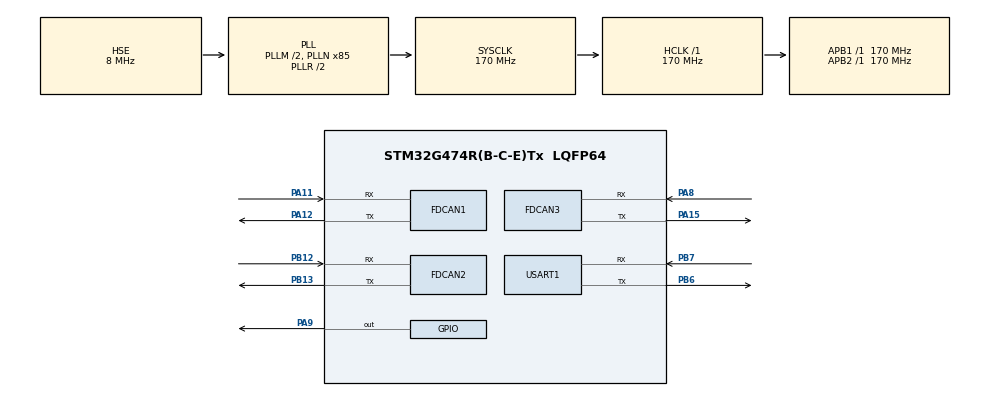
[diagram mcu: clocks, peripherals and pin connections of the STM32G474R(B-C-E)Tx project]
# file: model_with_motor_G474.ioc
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Dma.Request0=USART1_RX
Dma.USART1_RX.0.Direction=DMA_PERIPH_TO_MEMORY
Dma.USART1_RX.0.EventEnable=DISABLE
Dma.USART1_RX.0.Instance=DMA1_Channel1
Dma.USART1_RX.0.MemDataAlignment=DMA_MDATAALIGN_BYTE
Dma.USART1_RX.0.MemInc=DMA_MINC_ENABLE
Dma.USART1_RX.0.Mode=DMA_NORMAL
Dma.USART1_RX.0.PeriphDataAlignment=DMA_PDATAALIGN_BYTE
Dma.USART1_RX.0.PeriphInc=DMA_PINC_DISABLE
Dma.USART1_RX.0.Polarity=HAL_DMAMUX_REQ_GEN_RISING
Dma.USART1_RX.0.Priority=DMA_PRIORITY_LOW
Dma.USART1_RX.0.RequestNumber=1
Dma.USART1_RX.0.SignalID=NONE
Dma.USART1_RX.0.SyncEnable=DISABLE
Dma.USART1_RX.0.SyncPolarity=HAL_DMAMUX_SYNC_NO_EVENT
Dma.USART1_RX.0.SyncRequestNumber=1
Dma.USART1_RX.0.SyncSignalID=NONE
FDCAN1.CalculateBaudRateNominal=1000000
FDCAN1.CalculateTimeBitNominal=1000
FDCAN1.CalculateTimeQuantumNominal=100.0
FDCAN1.DataPrescaler=17
FDCAN1.DataTimeSeg1=6
FDCAN1.DataTimeSeg2=3
FDCAN1.NominalPrescaler=17
FDCAN1.NominalTimeSeg1=6
FDCAN1.NominalTimeSeg2=3
FDCAN1.StdFiltersNbr=1
FDCAN2.CalculateBaudRateNominal=1000000
FDCAN2.CalculateTimeBitNominal=1000
FDCAN2.CalculateTimeQuantumNominal=100.0
FDCAN2.DataPrescaler=17
FDCAN2.DataTimeSeg1=6
FDCAN2.DataTimeSeg2=3
FDCAN2.Mode=FDCAN_MODE_NORMAL
FDCAN2.NominalPrescaler=17
FDCAN2.NominalTimeSeg1=6
FDCAN2.NominalTimeSeg2=3
FDCAN2.StdFiltersNbr=1
FDCAN3.CalculateBaudRateNominal=1000000
FDCAN3.CalculateTimeBitNominal=1000
FDCAN3.CalculateTimeQuantumNominal=100.0
FDCAN3.DataPrescaler=17
FDCAN3.DataTimeSeg1=6
FDCAN3.DataTimeSeg2=3
FDCAN3.NominalPrescaler=17
FDCAN3.NominalTimeSeg1=6
FDCAN3.NominalTimeSeg2=3
FDCAN3.StdFiltersNbr=1
FREERTOS.Mutexes01=motorMutex,Dynamic,NULL,Available
FREERTOS.Queues01=task3position,16,uint16_t,0,Dynamic,NULL,NULL
FREERTOS.Tasks01=Task,24,128,Task0,As weak,NULL,Dynamic,NULL,NULL;myTask02,8,128,ZhuzhouMonitor,As weak,NULL,Dynamic,NULL,NULL;myTask03,8,128,DabiMonitor,As weak,NULL,Dynamic,NULL,NULL;myTask04,8,128,ChassisMonitor,As weak,NULL,Dynamic,NULL,NULL
Mcu.Family=STM32G4
Mcu.Name=STM32G474R(B-C-E)Tx
Mcu.Package=LQFP64
NVIC.DMA1_Channel1_IRQn=true\:5\:0\:false\:false\:true\:true\:false\:true\:true
NVIC.FDCAN1_IT0_IRQn=true\:5\:0\:false\:false\:true\:true\:true\:true\:true
NVIC.FDCAN1_IT1_IRQn=true\:5\:0\:false\:false\:true\:true\:true\:true\:true
NVIC.FDCAN2_IT0_IRQn=true\:5\:0\:false\:false\:true\:true\:true\:true\:true
NVIC.FDCAN2_IT1_IRQn=true\:5\:0\:false\:false\:true\:true\:true\:true\:true
NVIC.PriorityGroup=NVIC_PRIORITYGROUP_4
NVIC.TIM5_IRQn=true\:15\:0\:false\:false\:true\:false\:false\:true\:true
NVIC.TIM6_DAC_IRQn=true\:5\:0\:false\:false\:true\:true\:true\:true\:true
NVIC.TimeBase=TIM5_IRQn
NVIC.TimeBaseIP=TIM5
NVIC.USART1_IRQn=true\:5\:0\:false\:false\:true\:true\:true\:true\:true
PA11.Mode=FDCAN_Activate
PA11.Signal=FDCAN1_RX
PA12.Mode=FDCAN_Activate
PA12.Signal=FDCAN1_TX
PA13.Mode=Serial_Wire
PA13.Signal=SYS_JTMS-SWDIO
PA14.Mode=Serial_Wire
PA14.Signal=SYS_JTCK-SWCLK
PA15.Mode=FDCAN_Activate
PA15.Signal=FDCAN3_TX
PA8.Mode=FDCAN_Activate
PA8.Signal=FDCAN3_RX
PA9.Signal=GPIO_Output
PB12.Mode=FDCAN_Activate
PB12.Signal=FDCAN2_RX
PB13.Mode=FDCAN_Activate
PB13.Signal=FDCAN2_TX
PB6.Mode=Asynchronous
PB6.Signal=USART1_TX
PB7.Mode=Asynchronous
PB7.Signal=USART1_RX
PC14-OSC32_IN.Mode=LSE-External-Oscillator
PC14-OSC32_IN.Signal=RCC_OSC32_IN
PC15-OSC32_OUT.Mode=LSE-External-Oscillator
PC15-OSC32_OUT.Signal=RCC_OSC32_OUT
PF0-OSC_IN.Mode=HSE-External-Oscillator
PF0-OSC_IN.Signal=RCC_OSC_IN
PF1-OSC_OUT.Mode=HSE-External-Oscillator
PF1-OSC_OUT.Signal=RCC_OSC_OUT
ProjectManager.HeapSize=0x200
ProjectManager.StackSize=0x400
ProjectManager.TargetToolchain=MDK-ARM V5.32
RCC.ADC12Freq_Value=170000000
RCC.ADC345Freq_Value=170000000
RCC.AHBFreq_Value=170000000
RCC.APB1Freq_Value=170000000
RCC.APB1TimFreq_Value=170000000
RCC.APB2Freq_Value=170000000
RCC.APB2TimFreq_Value=170000000
RCC.CortexFreq_Value=170000000
RCC.EXTERNAL_CLOCK_VALUE=12288000
RCC.HCLKFreq_Value=170000000
RCC.HSE_VALUE=8000000
RCC.HSI48_VALUE=48000000
RCC.HSI_VALUE=16000000
RCC.PLLM=RCC_PLLM_DIV2
RCC.PLLN=85
RCC.PLLSourceVirtual=RCC_PLLSOURCE_HSE
RCC.SYSCLKFreq_VALUE=170000000
RCC.SYSCLKSource=RCC_SYSCLKSOURCE_PLLCLK
RCC.USBFreq_Value=170000000
RCC.VCOOutputFreq_Value=340000000
TIM6.AutoReloadPreload=TIM_AUTORELOAD_PRELOAD_ENABLE
TIM6.PeriodNoDither=99
TIM6.Prescaler=8499
USART1.VirtualMode-Asynchronous=VM_ASYNC
VP_FREERTOS_VS_CMSIS_V2.Mode=CMSIS_V2
VP_SYS_VS_DBSignals.Mode=DisableDeadBatterySignals
VP_SYS_VS_tim5.Mode=TIM5
VP_TIM6_VS_ClockSourceINT.Mode=Enable_Timer
board=custom

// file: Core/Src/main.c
/* USER CODE BEGIN Header */
/**
  ******************************************************************************
  * @file           : main.c
  * @brief          : Main program body
  ******************************************************************************
  * @attention
  *
  * Copyright (c) 2025 STMicroelectronics.
  * All rights reserved.
  *
  * This software is licensed under terms that can be found in the LICENSE file
  * in the root directory of this software component.
  * If no LICENSE file comes with this software, it is provided AS-IS.
  *
  ******************************************************************************
  */
/* USER CODE END Header */
#include "main.h"
#include "cmsis_os.h"
#include "dma.h"
#include "fdcan.h"
#include "tim.h"
#include "usart.h"
#include "gpio.h"

/* USER CODE BEGIN Includes */
#include "fdcan_bsp.h"
#include "dji_motor.h"
#include "cybergear_motor.h"
#include "Moter.h"
/* USER CODE END Includes */

void SystemClock_Config(void);
void MX_FREERTOS_Init(void);

int main(void)
{

  /* MCU Configuration--------------------------------------------------------*/

  /* Reset of all peripherals, Initializes the Flash interface and the Systick. */
  HAL_Init();

  /* Configure the system clock */
  SystemClock_Config();

  /* Initialize all configured peripherals */
  MX_GPIO_Init();
  MX_DMA_Init();
  MX_USART1_UART_Init();
  MX_FDCAN1_Init();
  MX_FDCAN2_Init();
  MX_FDCAN3_Init();
  MX_TIM6_Init();
  HAL_TIM_Base_Start_IT(&htim6);

  /* Init scheduler */
  osKernelInitialize();  /* Call init function for freertos objects (in cmsis_os2.c) */
  MX_FREERTOS_Init();

  /* Start scheduler */
  osKernelStart();

  /* We should never get here as control is now taken by the scheduler */

  /* Infinite loop */
  while (1)
  {

    /* USER CODE BEGIN 3 */
//		cybergear_motor_set_position(mi_motor, cybergear_motor_degree2rad(0.0f), cybergear_motor_rpm2rad(50));
//		HAL_Delay(1000);
//		cybergear_motor_set_position(mi_motor, cybergear_motor_degree2rad(60.0f), cybergear_motor_rpm2rad(50));
//		HAL_Delay(1000);

//		dji_motor_set_location(dji_motor, dji_degree2encoder(0.0f));
//    HAL_Delay(1000);
//    dji_motor_set_location(dji_motor, dji_degree2encoder(180.0f));
//    HAL_Delay(1000);

  }
  /* USER CODE END 3 */
}

void SystemClock_Config(void)
{
  RCC_OscInitTypeDef RCC_OscInitStruct = {0};
  RCC_ClkInitTypeDef RCC_ClkInitStruct = {0};

  /** Configure the main internal regulator output voltage
  */
  HAL_PWREx_ControlVoltageScaling(PWR_REGULATOR_VOLTAGE_SCALE1_BOOST);

  /** Initializes the RCC Oscillators according to the specified parameters
  * in the RCC_OscInitTypeDef structure.
  */
  RCC_OscInitStruct.OscillatorType = RCC_OSCILLATORTYPE_HSE;
  RCC_OscInitStruct.HSEState = RCC_HSE_ON;
  RCC_OscInitStruct.PLL.PLLState = RCC_PLL_ON;
  RCC_OscInitStruct.PLL.PLLSource = RCC_PLLSOURCE_HSE;
  RCC_OscInitStruct.PLL.PLLM = RCC_PLLM_DIV2;
  RCC_OscInitStruct.PLL.PLLN = 85;
  RCC_OscInitStruct.PLL.PLLP = RCC_PLLP_DIV2;
  RCC_OscInitStruct.PLL.PLLQ = RCC_PLLQ_DIV2;
  RCC_OscInitStruct.PLL.PLLR = RCC_PLLR_DIV2;
  if (HAL_RCC_OscConfig(&RCC_OscInitStruct) != HAL_OK)
  {
    Error_Handler();
  }

  /** Initializes the CPU, AHB and APB buses clocks
  */
  RCC_ClkInitStruct.ClockType = RCC_CLOCKTYPE_HCLK|RCC_CLOCKTYPE_SYSCLK
                              |RCC_CLOCKTYPE_PCLK1|RCC_CLOCKTYPE_PCLK2;
  RCC_ClkInitStruct.SYSCLKSource = RCC_SYSCLKSOURCE_PLLCLK;
  RCC_ClkInitStruct.AHBCLKDivider = RCC_SYSCLK_DIV1;
  RCC_ClkInitStruct.APB1CLKDivider = RCC_HCLK_DIV1;
  RCC_ClkInitStruct.APB2CLKDivider = RCC_HCLK_DIV1;

  if (HAL_RCC_ClockConfig(&RCC_ClkInitStruct, FLASH_LATENCY_4) != HAL_OK)
  {
    Error_Handler();
  }
}

void HAL_TIM_PeriodElapsedCallback(TIM_HandleTypeDef *htim)
{
  if (htim->Instance == TIM5)
  {
    HAL_IncTick();
  }

}

void Error_Handler(void)
{
  __disable_irq();
  while (1)
  {
  }
}

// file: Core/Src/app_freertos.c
/* USER CODE BEGIN Header */
/**
  ******************************************************************************
  * File Name          : app_freertos.c
  * Description        : Code for freertos applications
  ******************************************************************************
  * @attention
  *
  * Copyright (c) 2025 STMicroelectronics.
  * All rights reserved.
  *
  * This software is licensed under terms that can be found in the LICENSE file
  * in the root directory of this software component.
  * If no LICENSE file comes with this software, it is provided AS-IS.
  *
  ******************************************************************************
  */
/* USER CODE END Header */

#include "FreeRTOS.h"
#include "task.h"
#include "main.h"
#include "cmsis_os.h"

/* USER CODE BEGIN Includes */
#include "fdcan_bsp.h"
#include "dji_motor.h"
#include "cybergear_motor.h"
#include "Moter.h"
#include "usart.h"
#include "stdio.h"
#include "string.h"
#include <stdlib.h>
#include "trajectory_planner.h"
/* USER CODE END Includes */

/* USER CODE BEGIN PTD */
#define buf_size 256
#define TASK_NONE     0
#define TASK_1 1
#define TASK_2 2
#define TASK_3 3
/* USER CODE END PTD */

/* USER CODE BEGIN PD */
uint8_t rx_buffer[buf_size];
volatile int16_t sys = TASK_NONE;

#define POSITION_TOLERANCE  50       // DJI电机位置容差（编码器值）
#define CHASSIS_TOLERANCE   0.01f    // 底盘电机位置容差（rad）
#define WAIT_TIMEOUT_MS     5000     // 超时时间（ms）
#define SUCTION_DELAY_MS    500      // 吸盘动作延迟

/* USER CODE END PD */

/* Definitions for Task */
osThreadId_t TaskHandle;
const osThreadAttr_t Task_attributes = {
  .name = "Task",
  .priority = (osPriority_t) osPriorityNormal,
  .stack_size = 128 * 4
};
/* Definitions for myTask02 */
osThreadId_t myTask02Handle;
const osThreadAttr_t myTask02_attributes = {
  .name = "myTask02",
  .priority = (osPriority_t) osPriorityLow,
  .stack_size = 128 * 4
};
/* Definitions for myTask03 */
osThreadId_t myTask03Handle;
const osThreadAttr_t myTask03_attributes = {
  .name = "myTask03",
  .priority = (osPriority_t) osPriorityLow,
  .stack_size = 128 * 4
};
/* Definitions for myTask04 */
osThreadId_t myTask04Handle;
const osThreadAttr_t myTask04_attributes = {
  .name = "myTask04",
  .priority = (osPriority_t) osPriorityLow,
  .stack_size = 128 * 4
};
/* Definitions for task3position */
osMessageQueueId_t task3positionHandle;
const osMessageQueueAttr_t task3position_attributes = {
  .name = "task3position"
};
/* Definitions for motorMutex */
osMutexId_t motorMutexHandle;
const osMutexAttr_t motorMutex_attributes = {
  .name = "motorMutex"
};

void Task0(void *argument);
void ZhuzhouMonitor(void *argument);
void DabiMonitor(void *argument);
void ChassisMonitor(void *argument);

void MX_FREERTOS_Init(void); /* (MISRA C 2004 rule 8.1) */

void MX_FREERTOS_Init(void) {
  /* USER CODE BEGIN Init */
	fdcan_bsp_init();
	HAL_UARTEx_ReceiveToIdle_DMA(&huart1, rx_buffer, buf_size);
	trajectory_planner_init();
    dji_motors_init();
	cybergear_motors_init();

	fdcan_bsp_start(&hfdcan1);
	fdcan_bsp_start(&hfdcan2);

  /* USER CODE END Init */
  /* Create the mutex(es) */
  /* creation of motorMutex */
  motorMutexHandle = osMutexNew(&motorMutex_attributes);

  /* Create the queue(s) */
  /* creation of task3position */
  task3positionHandle = osMessageQueueNew (16, sizeof(uint16_t), &task3position_attributes);

  /* Create the thread(s) */
  /* creation of Task */
  TaskHandle = osThreadNew(Task0, NULL, &Task_attributes);

  /* creation of myTask02 */
  myTask02Handle = osThreadNew(ZhuzhouMonitor, NULL, &myTask02_attributes);

  /* creation of myTask03 */
  myTask03Handle = osThreadNew(DabiMonitor, NULL, &myTask03_attributes);

  /* creation of myTask04 */
  myTask04Handle = osThreadNew(ChassisMonitor, NULL, &myTask04_attributes);

}

__weak void Task0(void *argument)
{
  for(;;)
  {
    osDelay(1);
  }
}

__weak void ZhuzhouMonitor(void *argument)
{
  for(;;)
  {
    osDelay(1);
  }
}

__weak void DabiMonitor(void *argument)
{
  for(;;)
  {
    osDelay(1);
  }
}

__weak void ChassisMonitor(void *argument)
{
  for(;;)
  {
    osDelay(1);
  }
}

/* USER CODE BEGIN Application */
void  HAL_UARTEx_RxEventCallback(UART_HandleTypeDef *huart, uint16_t Size)
{
  if (huart == &huart1)
  {
	rx_buffer[Size]='\0';
	  printf("7");
	  if(rx_buffer[0] == 'a')
	  {
		  printf("6");
	  sys = TASK_1;
	  }

	  HAL_UARTEx_ReceiveToIdle_DMA(&huart1, rx_buffer, buf_size);
  }
}
/* USER CODE END Application */
